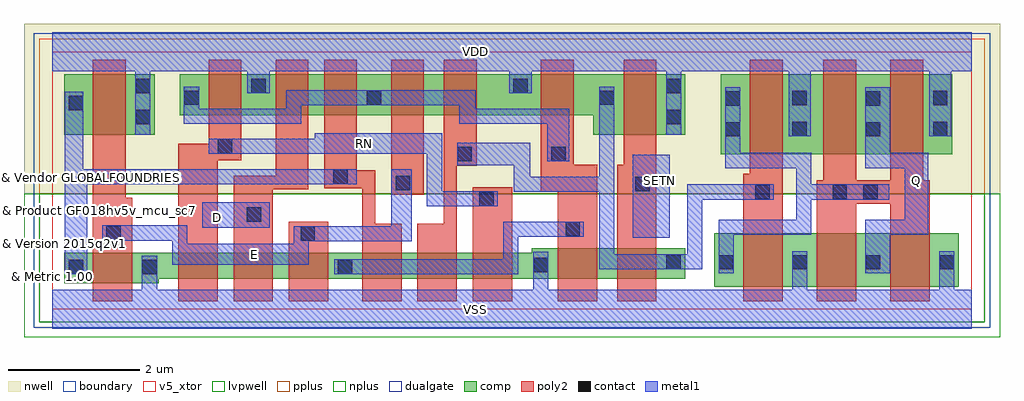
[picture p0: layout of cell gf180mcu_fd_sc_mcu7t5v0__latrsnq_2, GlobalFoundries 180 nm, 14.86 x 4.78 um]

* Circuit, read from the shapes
.subckt gf180mcu_fd_sc_mcu7t5v0__latrsnq_2 D E Q RN SETN VDD VSS
XM1 VSS E n1 VSUBS nfet_05v0 w=0.465u l=0.6u
XM2 n2 RN VSS VSUBS nfet_05v0 w=0.395u l=0.6u
XM3 n3 D n2 VSUBS nfet_05v0 w=0.395u l=0.6u
XM4 n4 E n3 VSUBS nfet_05v0 w=0.395u l=0.6u
XM5 n5 n1 n4 VSUBS nfet_05v0 w=0.395u l=0.6u
XM6 n6 n7 n5 VSUBS nfet_05v0 w=0.395u l=0.6u
XM7 VSS RN n6 VSUBS nfet_05v0 w=0.395u l=0.6u
XM8 n8 n4 VSS VSUBS nfet_05v0 w=0.465u l=0.6u
XM9 n7 SETN n8 VSUBS nfet_05v0 w=0.465u l=0.6u
XM10 VSS n7 n9 VSUBS nfet_05v0 w=0.82u l=0.6u
XM11 Q n9 VSS VSUBS nfet_05v0 w=0.82u l=0.6u m=2
XM12 VDD E n1 n10 pfet_05v0 w=0.925u l=0.5u
XM13 VDD RN n4 n10 pfet_05v0 w=0.63u l=0.5u
XM14 n11 D VDD n10 pfet_05v0 w=0.63u l=0.5u
XM15 n4 n1 n11 n10 pfet_05v0 w=0.63u l=0.5u
XM16 n12 E n4 n10 pfet_05v0 w=0.63u l=0.5u
XM17 VDD n7 n12 n10 pfet_05v0 w=0.63u l=0.5u
XM18 n7 n4 VDD n10 pfet_05v0 w=0.63u l=0.5u
XM19 VDD SETN n7 n10 pfet_05v0 w=0.925u l=0.5u
XM20 VDD n7 n9 n10 pfet_05v0 w=1.22u l=0.5u
XM21 Q n9 VDD n10 pfet_05v0 w=1.22u l=0.5u m=2
.ends

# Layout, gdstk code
import gdstk
lib = gdstk.Library(unit=1e-6, precision=1e-09)
def R(c, l, rs):  # rectangles x0, y0, x1, y1
    for r in rs: c.add(gdstk.rectangle(r[:2], r[2:], *l))
def A(c, l, x, y, w, h, nx, ny, dx, dy):  # array of equal rectangles
    R(c, l, [(x+i*dx, y+j*dy, x+i*dx+w, y+j*dy+h) for i in range(nx) for j in range(ny)])
def P(c, l, *ps):  # polygons
    for p in ps: c.add(gdstk.Polygon(p, *l))
boundary = (0, 0)
nwell = (21, 0)
comp = (22, 0)
poly2 = (30, 0)
pplus = (31, 0)
nplus = (32, 0)
contact = (33, 0)
metal1 = (34, 0)
dualgate = (55, 0)
v5_xtor = (112, 1)
lvpwell = (204, 0)

gf180mcu_fd_sc_mcu7t5v0_ = lib.new_cell('gf180mcu_fd_sc_mcu7t5v0__latrsnq_2')
R(gf180mcu_fd_sc_mcu7t5v0_, boundary, [(0,0,14,3.92)])
R(gf180mcu_fd_sc_mcu7t5v0_, nwell, [(-0.43,1.76,14.43,4.35)])
R(gf180mcu_fd_sc_mcu7t5v0_, comp, [(10.08,0.34,13.8,1.16), (10.18,2.36,13.7,3.58), (0.18,2.655,1.56,3.58)])
P(gf180mcu_fd_sc_mcu7t5v0_, comp, [(0.18,0.395),(0.18,0.86),(7.3,0.86),(7.3,0.93),(9.64,0.93),(9.64,0.465),(1.62,0.465),(1.62,0.395)],
  [(8.24,2.655),(8.24,2.95),(1.94,2.95),(1.94,3.58),(9.64,3.58),(9.64,2.655)])
R(gf180mcu_fd_sc_mcu7t5v0_, poly2, [(3.6,0.12,4.2,1.33), (6.4,0.12,7,1.86), (5.16,1.745,5.66,3.8)])
P(gf180mcu_fd_sc_mcu7t5v0_, poly2, [(0.62,0.12),(0.62,3.8),(1.12,3.8),(1.12,1.7),(1.22,1.7),(1.22,0.12)],
  [(1.92,0.12),(1.92,2.52),(2.38,2.52),(2.38,3.8),(2.88,3.8),(2.88,2.27),(2.52,2.27),(2.52,0.12)],
  [(2.76,0.12),(2.76,2.03),(3.4,2.03),(3.4,3.8),(3.9,3.8),(3.9,1.83),(3.36,1.83),(3.36,0.12)],
  [(4.72,0.12),(4.72,1.84),(4.14,1.84),(4.14,3.8),(4.64,3.8),(4.64,2.115),(4.92,2.115),(4.92,1.3),(5.32,1.3),(5.32,0.12)],
  [(5.56,0.12),(5.56,1.3),(5.96,1.3),(5.96,3.8),(6.46,3.8),(6.46,2.185),(6.16,2.185),(6.16,0.12)],
  [(7.7,0.12),(7.7,1.79),(7.44,1.79),(7.44,3.8),(7.94,3.8),(7.94,2.2),(8.3,2.2),(8.3,0.12)],
  [(8.6,0.12),(8.6,2.2),(8.7,2.2),(8.7,3.8),(9.2,3.8),(9.2,0.12)],
  [(10.52,0.12),(10.52,2.06),(10.62,2.06),(10.62,3.8),(11.12,3.8),(11.12,0.12)],
  [(11.64,0.12),(11.64,1.965),(11.74,1.965),(11.74,3.8),(12.24,3.8),(12.24,1.965),(12.76,1.965),(12.76,3.8),(13.26,3.8),(13.26,1.965),(13.36,1.965),(13.36,0.12),(12.76,0.12),(12.76,1.605),(12.24,1.605),(12.24,0.12)])
R(gf180mcu_fd_sc_mcu7t5v0_, pplus, [(-0.2,1.76,14.2,4.12)])
R(gf180mcu_fd_sc_mcu7t5v0_, nplus, [(-0.2,-0.2,14.2,1.76)])
A(gf180mcu_fd_sc_mcu7t5v0_, contact, 10.15, 0.605, 0.22, 0.22, 4, 1, 1.12, 0)
R(gf180mcu_fd_sc_mcu7t5v0_, contact, [(0.25,0.535,0.47,0.755), (1.37,0.535,1.59,0.755), (4.35,0.535,4.57,0.755), (7.33,0.565,7.55,0.785), (9.35,0.61,9.57,0.83), (3.78,1.04,4,1.26), (0.82,1.05,1.04,1.27), (7.815,1.11,8.035,1.33), (2.965,1.335,3.185,1.555), (6.5,1.57,6.72,1.79), (10.705,1.675,10.925,1.895), (11.88,1.675,12.1,1.895), (12.35,1.675,12.57,1.895), (8.88,1.795,9.1,2.015), (5.23,1.815,5.45,2.035), (4.28,1.91,4.5,2.13), (6.17,2.255,6.39,2.475), (7.595,2.255,7.815,2.475), (2.52,2.37,2.74,2.59), (10.25,2.63,10.47,2.85), (12.39,2.63,12.61,2.85), (11.27,2.635,11.49,2.855), (13.41,2.635,13.63,2.855), (1.27,2.82,1.49,3.04), (9.35,2.82,9.57,3.04), (0.25,3.03,0.47,3.25), (10.25,3.1,10.47,3.32), (12.39,3.1,12.61,3.32), (11.27,3.105,11.49,3.325), (13.41,3.105,13.63,3.325), (2.01,3.11,2.23,3.33), (4.79,3.11,5.01,3.33), (8.33,3.11,8.55,3.33), (1.27,3.29,1.49,3.51), (3.03,3.29,3.25,3.51), (7.02,3.29,7.24,3.51), (9.35,3.29,9.57,3.51)])
R(gf180mcu_fd_sc_mcu7t5v0_, metal1, [(8.84,1.085,9.4,2.355), (2.285,1.24,3.31,1.63)])
P(gf180mcu_fd_sc_mcu7t5v0_, metal1, [(0.19,0.53),(0.19,3.31),(0.475,3.31),(0.475,2.135),(4.64,2.135),(4.64,1.905),(0.53,1.905),(0.53,0.53)],
  [(1.825,0.68),(1.825,1.045),(0.76,1.045),(0.76,1.275),(2.055,1.275),(2.055,1),(3.675,1),(3.675,1.265),(5.16,1.265),(5.16,2.135),(5.475,2.135),(5.475,1.035),(3.905,1.035),(3.905,0.68)],
  [(5.705,1.565),(5.705,2.365),(2.38,2.365),(2.38,2.595),(4,2.595),(4,2.68),(5.935,2.68),(5.935,1.795),(6.78,1.795),(6.78,1.565)],
  [(7.535,2.25),(7.535,2.825),(6.195,2.825),(6.195,3.105),(3.79,3.105),(3.79,2.825),(2.005,2.825),(2.005,3.39),(2.235,3.39),(2.235,3.055),(3.56,3.055),(3.56,3.335),(6.445,3.335),(6.445,3.055),(7.875,3.055),(7.875,2.25)],
  [(4.29,0.53),(4.29,0.76),(6.865,0.76),(6.865,1.335),(8.095,1.335),(8.095,1.105),(7.095,1.105),(7.095,0.53)],
  [(8.325,0.605),(8.325,1.79),(7.03,1.79),(7.03,2.195),(6.165,2.195),(6.165,2.535),(7.28,2.535),(7.28,2.02),(8.325,2.02),(8.325,3.39),(8.555,3.39),(8.555,0.835),(9.665,0.835),(9.665,1.9),(10.985,1.9),(10.985,1.67),(9.895,1.67),(9.895,0.605)],
  [(10.145,0.545),(10.145,1.365),(11.325,1.365),(11.325,2.15),(10.245,2.15),(10.245,3.38),(10.475,3.38),(10.475,2.38),(11.555,2.38),(11.555,1.9),(12.745,1.9),(12.745,1.67),(11.555,1.67),(11.555,1.135),(10.375,1.135),(10.375,0.545)],
  [(12.38,0.545),(12.38,1.365),(12.98,1.365),(12.98,2.15),(12.38,2.15),(12.38,3.38),(12.76,3.38),(12.76,2.38),(13.34,2.38),(13.34,1.135),(12.76,1.135),(12.76,0.545)],
  [(0,-0.3),(0,0.3),(1.365,0.3),(1.365,0.815),(1.595,0.815),(1.595,0.3),(7.325,0.3),(7.325,0.875),(7.555,0.875),(7.555,0.3),(11.265,0.3),(11.265,0.885),(11.495,0.885),(11.495,0.3),(13.505,0.3),(13.505,0.885),(13.735,0.885),(13.735,0.3),(14,0.3),(14,-0.3)],
  [(11.21,2.63),(11.21,3.62),(9.575,3.62),(9.575,2.655),(9.345,2.655),(9.345,3.62),(7.3,3.62),(7.3,3.285),(6.96,3.285),(6.96,3.62),(3.31,3.62),(3.31,3.285),(2.97,3.285),(2.97,3.62),(1.495,3.62),(1.495,2.655),(1.265,2.655),(1.265,3.62),(0,3.62),(0,4.22),(14,4.22),(14,3.62),(13.69,3.62),(13.69,2.63),(13.35,2.63),(13.35,3.62),(11.55,3.62),(11.55,2.63)])
R(gf180mcu_fd_sc_mcu7t5v0_, dualgate, [(-0.28,-0.28,14.28,4.2)])
R(gf180mcu_fd_sc_mcu7t5v0_, v5_xtor, [(0,0,14,3.92)])
R(gf180mcu_fd_sc_mcu7t5v0_, lvpwell, [(-0.43,-0.43,14.43,1.76)])
gf180mcu_fd_sc_mcu7t5v0_.add(gdstk.Label('RN', (4.76,2.52), layer=34, texttype=10))
gf180mcu_fd_sc_mcu7t5v0_.add(gdstk.Label('SETN', (9.24,1.96), layer=34, texttype=10))
gf180mcu_fd_sc_mcu7t5v0_.add(gdstk.Label('Q', (13.16,1.96), layer=34, texttype=10))
gf180mcu_fd_sc_mcu7t5v0_.add(gdstk.Label('D', (2.52,1.4), layer=34, texttype=10))
gf180mcu_fd_sc_mcu7t5v0_.add(gdstk.Label('VSS', (6.44,0), layer=34, texttype=10))
gf180mcu_fd_sc_mcu7t5v0_.add(gdstk.Label('VDD', (6.44,3.92), layer=34, texttype=10))
gf180mcu_fd_sc_mcu7t5v0_.add(gdstk.Label('E', (3.08,0.84), layer=34, texttype=10))
gf180mcu_fd_sc_mcu7t5v0_.add(gdstk.Label('& Vendor GLOBALFOUNDRIES', (0,2), layer=63, texttype=63))
gf180mcu_fd_sc_mcu7t5v0_.add(gdstk.Label('& Product GF018hv5v_mcu_sc7', (0,1.5), layer=63, texttype=63))
gf180mcu_fd_sc_mcu7t5v0_.add(gdstk.Label('& Version 2015q2v1', (0,1), layer=63, texttype=63))
gf180mcu_fd_sc_mcu7t5v0_.add(gdstk.Label('& Metric 1.00', (0,0.5), layer=63, texttype=63))

lib.write_gds('gf180mcu_fd_sc_mcu7t5v0__latrsnq_2.gds')
